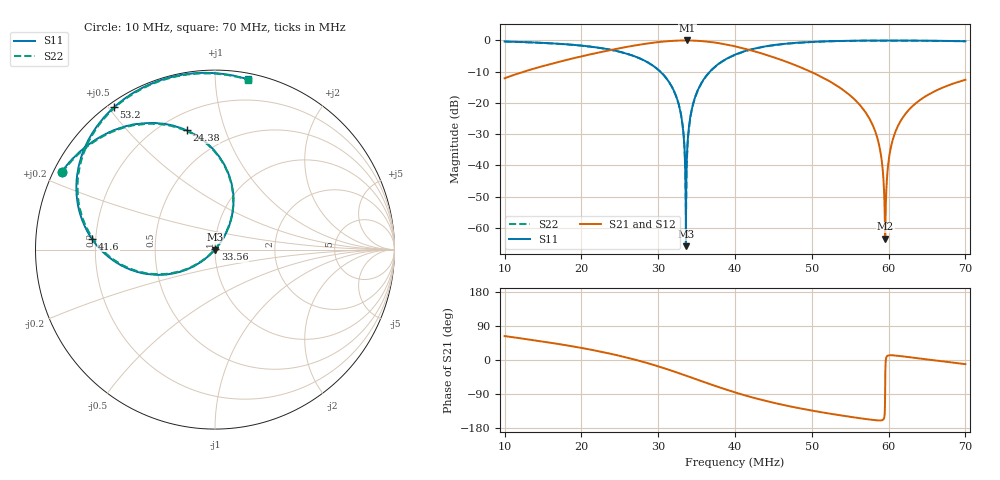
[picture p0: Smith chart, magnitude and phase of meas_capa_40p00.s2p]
#  HZ  S  RI  R  50.00
! Rohde & Schwarz ZVT8 8Ports - Version 4.11 - 1300.0000k08 SN: 100242
! Date: 2026-07-13 13:52:56
! Measurements: S11 S21 S12 S22
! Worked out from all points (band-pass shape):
!   3001 points, 10 MHz to 70 MHz, reference 50 ohm
!   highest |S21| = -0.05 dB at 33.8 MHz (marker M1); lowest = -63.5 dB at 59.56 MHz (marker M2)
!   |S21| within 3 dB of the highest: 23.95 MHz to 41.84 MHz (17.89 MHz wide, 54.4 % of centre)
!   lowest |S11| = -65.9 dB at 33.6 MHz (marker M3), VSWR 1.00, Z = 50 + j0.0489 ohm
!   |S11| at or under -10 dB: 30.27 MHz to 36.74 MHz (6.467 MHz wide, 19.3 % of centre)
!   |S22| runs from -56.4 to -0.1 dB; largest |S21 - S12| = 0.0016
!   S11 on the Smith chart (normalised r, x): 10 MHz: 0.02, +0.24; 24.38 MHz: 0.30, +0.75; 33.56 MHz: 1.01, +0.01; 41.6 MHz: 0.18, +0.04; 53.2 MHz: 0.02, +0.52; 70 MHz: 0.04, +1.21
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1e7  -0.8533 0.4331  0.1114 0.2198  0.1117 0.2196  -0.8508 0.4302
2e7  -0.4314 0.7004  0.4696 0.2911  0.4693 0.2905  -0.4306 0.6968
2.438e7  -0.1585 0.6646  0.7005 0.1724  0.6998 0.172  -0.1593 0.6613
3e7  0.1003 0.3232  0.8946 -0.269  0.8945 -0.2691  0.0981 0.3231
3.254e7  0.0595 0.0886  0.8223 -0.5479  0.8219 -0.5472  0.0594 0.0904
3.306e7  0.0337 0.0435  0.7892 -0.6014  0.7887 -0.6006  0.0326 0.0454
3.356e7  0.00264 0.00361  0.7515 -0.6499  0.7512 -0.6496  0.00217 0.00511
3.36e7  -0.000136 0.000489  0.7483 -0.6536  0.7481 -0.6533  -0.000105 0.0031
3.38e7  -0.0141 -0.0151  0.732 -0.6722  0.7311 -0.6712  -0.0137 -0.0118
3.426e7  -0.048 -0.0463  0.69 -0.7111  0.6901 -0.711  -0.0488 -0.0434
3.528e7  -0.1381 -0.1017  0.5861 -0.7831  0.5859 -0.783  -0.1369 -0.099
4e7  -0.5862 -0.0458  0.0637 -0.7985  0.0633 -0.7986  -0.5817 -0.0435
4.16e7  -0.6862 0.0607  -0.0624 -0.7135  -0.0624 -0.7135  -0.6809 0.063
5e7  -0.6828 0.6493  -0.2117 -0.2242  -0.2119 -0.224  -0.6783 0.6473
5.32e7  -0.5624 0.7929  -0.1541 -0.1107  -0.1542 -0.1107  -0.5592 0.7904
5.79e7  -0.3544 0.9245  -0.0416 -0.0168  -0.0415 -0.0168  -0.351 0.9225
5.886e7  -0.3098 0.942  -0.0173 -0.00648  -0.0173 -0.00649  -0.3067 0.9393
5.956e7  -0.2774 0.9522  0.00035 -0.000573  0.000343 -0.000574  -0.274 0.9499
6e7  -0.2568 0.9583  0.0114 0.00245  0.0114 0.00245  -0.2533 0.9557
6.088e7  -0.2164 0.9681  0.0334 0.00695  0.0334 0.00695  -0.2124 0.9651
6.264e7  -0.1349 0.9807  0.0765 0.0101  0.0765 0.0102  -0.1314 0.9776
7e7  0.1814 0.9489  0.2294 -0.0443  0.2295 -0.0443  0.1851 0.9464
